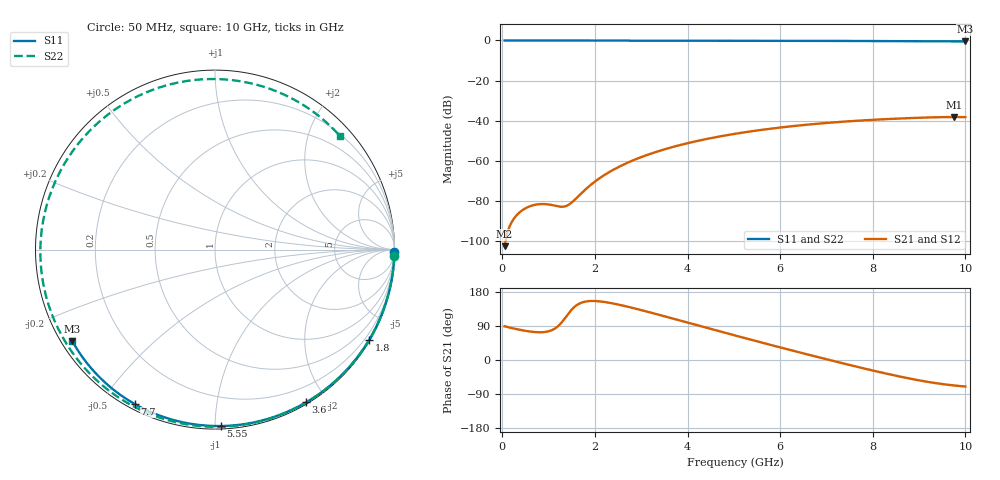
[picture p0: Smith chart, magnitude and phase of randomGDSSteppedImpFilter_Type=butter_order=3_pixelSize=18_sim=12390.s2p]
! freq	dB(S11)	phase(S11)	dB(S12)	phase(S12)
!  dB(S21)	phase(S21)	dB(S22)	phase(S22)
!S-par simulation data
#  GHz  S  DB  R 50
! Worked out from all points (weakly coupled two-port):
!   200 points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, 50 MHz to 10 GHz, reference 50 ohm
!   highest |S21| = -38.14 dB at 9.75 GHz (marker M1); lowest = -102.5 dB at 50 MHz (marker M2)
!   lowest |S11| = -0.5 dB at 10 GHz (marker M3), VSWR 34.91, Z = 1.55 - j14.6 ohm
!   |S11| at or under -10 dB: nowhere
!   |S22| runs from -0.5 to 0.0 dB; largest |S21 - S12| = 0
!   S11 on the Smith chart (normalised r, x): 50 MHz: open; 1.8 GHz: 0.03, -3.68; 3.6 GHz: 0.02, -1.76; 5.55 GHz: 0.02, -1.03; 7.7 GHz: 0.02, -0.61; 10 GHz: 0.03, -0.29
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0.05  -0.00 -0.9  -102.48 88.9  -102.48 88.9  -0.00 -2.0
0.7  -0.02 -11.9  -81.91 73.7  -81.91 73.7  -0.04 -28.0
1.1  -0.02 -18.7  -82.14 80.5  -82.14 80.5  -0.05 -43.6
1.5  -0.03 -25.4  -80.71 133.2  -80.71 133.2  -0.07 -58.7
1.55  -0.03 -26.2  -79.67 139.3  -79.67 139.3  -0.07 -60.5
1.75  -0.04 -29.5  -75.19 152.8  -75.19 152.8  -0.08 -67.8
1.8  -0.04 -30.4  -74.13 154.2  -74.13 154.2  -0.09 -69.6
2.1  -0.05 -35.3  -68.64 154.7  -68.64 154.7  -0.10 -80.2
2.45  -0.05 -41.0  -63.77 147.7  -63.77 147.7  -0.11 -92.1
2.9  -0.06 -48.2  -59.01 134.8  -59.01 134.8  -0.13 -106.8
3.4  -0.07 -56.1  -54.96 118.8  -54.96 118.8  -0.14 -122.4
3.6  -0.08 -59.2  -53.59 112.2  -53.59 112.2  -0.15 -128.4
4.35  -0.10 -70.6  -49.38 87.1  -49.38 87.1  -0.18 -150.3
5.05  -0.12 -80.9  -46.41 63.9  -46.41 63.9  -0.22 -169.9
5.55  -0.14 -88.1  -44.70 47.7  -44.70 47.7  -0.24 176.2
6.1  -0.17 -95.8  -43.12 30.1  -43.12 30.1  -0.28 160.9
6.7  -0.20 -104.1  -41.70 11.2  -41.70 11.2  -0.32 144.0
7.7  -0.27 -117.5  -39.94 -19.1  -39.94 -19.1  -0.39 114.7
8.35  -0.32 -126.0  -39.12 -37.5  -39.12 -37.5  -0.43 94.8
9.05  -0.39 -135.1  -38.47 -54.8  -38.47 -54.8  -0.48 72.8
9.75  -0.47 -144.2  -38.14 -67.1  -38.14 -67.1  -0.52 50.4
10  -0.50 -147.4  -38.21 -70.0  -38.21 -70.0  -0.53 42.4
